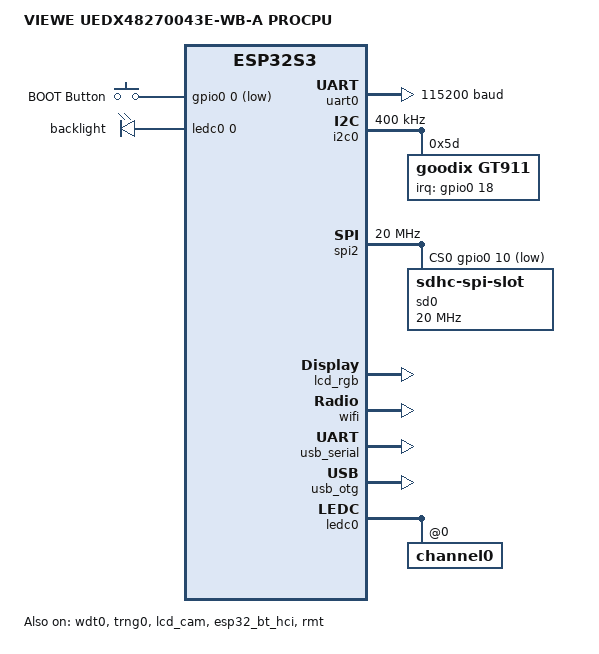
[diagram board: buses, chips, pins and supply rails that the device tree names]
/*
 * SPDX-License-Identifier: Apache-2.0
 */

/dts-v1/;

#include <zephyr/dt-bindings/input/input-event-codes.h>
#include <zephyr/dt-bindings/pwm/pwm.h>
#include <zephyr/dt-bindings/led/led.h>
#include <zephyr/dt-bindings/gpio/gpio.h>
#include <espressif/esp32s3/esp32s3_wroom_n16r8.dtsi>
#include <espressif/partitions_0x0_amp_16M.dtsi>
#include "uedx48270043e_wb_a-pinctrl.dtsi"

/ {
	model = "VIEWE UEDX48270043E-WB-A PROCPU";
	compatible = "viewe,uedx48270043e_wb_a", "espressif,esp32s3";

	chosen {
	    zephyr,sram = &sram1;
	    zephyr,console = &uart0;
	    zephyr,shell-uart = &uart0;
	    zephyr,flash = &flash0;
	    zephyr,code-partition = &slot0_partition;
	    zephyr,bt-hci = &esp32_bt_hci;
	    zephyr,touch = &gt911;
		zephyr,display = &lcd_rgb;
    };

	aliases {
		sw0 = &button;
		watchdog0 = &wdt0;
		sdhc0 = &sd0;
		backlight-pwm = &lcd_backlight;
		led-strip = &rgb_led;
	};

	keys: keys {
		compatible = "gpio-keys";
		debounce-interval-ms = <10>;

		button: button {
			gpios = <&gpio0 0 (GPIO_ACTIVE_LOW | GPIO_PULL_UP)>;
			label = "BOOT Button";
			zephyr,code = <INPUT_KEY_0>;
		};
	};

	lcd_backlight: lcd-backlight {
    	compatible = "pwm-leds";
    	backlight {
        	pwms = <&ledc0 0 PWM_HZ(250) PWM_POLARITY_NORMAL>;
		};
    };

	rgb_led: ws2812 {
		compatible = "worldsemi,ws2812-pulse-io";
		pulse-ios = <&rmt 0>;
		chain-length = <1>;
		color-mapping = <LED_COLOR_ID_GREEN
				 LED_COLOR_ID_RED
				 LED_COLOR_ID_BLUE>;
		reset-delay = <300>;
	};
};

&dma {
	status = "okay";
};

&timer0 {
	status = "disabled";
};

&timer1 {
	status = "disabled";
};

&timer2 {
	status = "disabled";
};

&timer3 {
	status = "disabled";
};

&wdt0 {
	status = "okay";
};

&trng0 {
	status = "okay";
};

&gpio0 {
	status = "okay";
};

&gpio1 {
	status = "okay";
};

&uart0 {
	status = "okay";
	current-speed = <115200>;
	pinctrl-0 = <&uart0_default>;
	pinctrl-names = "default";
};

&i2c0 {
    status = "okay";
    clock-frequency = <I2C_BITRATE_FAST>;
    pinctrl-0 = <&i2c0_default>;
    pinctrl-names = "default";

    gt911: gt911@5d {
        compatible = "goodix,gt911";
        reg = <0x5d>;
        alt-addr = <0x14>;

        irq-gpios = <&gpio0 18 GPIO_ACTIVE_HIGH>;
        /*reset-gpios = <&gpio0 38 GPIO_ACTIVE_LOW>;*/

        status = "okay";
    };
};

&spi2 {
	#address-cells = <1>;
	#size-cells = <0>;
	status = "okay";
	pinctrl-0 = <&spim2_default>;
	pinctrl-names = "default";
	clock-frequency = <20000000>;
	cs-gpios = <&gpio0 10 GPIO_ACTIVE_LOW>;

	sd0: sd@0 {
		compatible = "zephyr,sdhc-spi-slot";
		reg = <0>;
		status = "okay";
		spi-max-frequency = <20000000>;

		mmc {
			compatible = "zephyr,sdmmc-disk";
			disk-name = "SD";
			status = "okay";
		};
	};
};

&lcd_cam {
    status = "okay";
    pinctrl-0 = <&lcd_cam_rgb_default>;
    pinctrl-names = "default";

    lcd_rgb: display {
        compatible = "espressif,esp32-lcd-cam-rgb";
        status = "okay";

        width = <480>;
        height = <272>;

        display-timings {
            compatible = "zephyr,panel-timing";

            clock-frequency = <16000000>;

            hsync-len = <1>;
            hback-porch = <42>;
            hfront-porch = <20>;

            vsync-len = <10>;
            vback-porch = <12>;
            vfront-porch = <4>;

            hsync-active = <0>;
            vsync-active = <0>;
            de-active = <1>;
            pixelclk-active = <0>;
        };
    };
};

&esp32_bt_hci {
	status = "okay";
};

&wifi {
	status = "okay";
};

&usb_serial {
	status = "okay";
};

zephyr_udc0: &usb_otg {
	status = "okay";
};

&ledc0 {
    status = "okay";
    pinctrl-0 = <&backlight_pwm_default>;
    pinctrl-names = "default";
    #address-cells = <1>;
    #size-cells = <0>;
    channel0@0 {
        reg = <0>;
        timer = <0>;
    };
};

&rmt {
	pinctrl-0 = <&rmt_ws2812>;
	pinctrl-names = "default";
	status = "okay";
};
